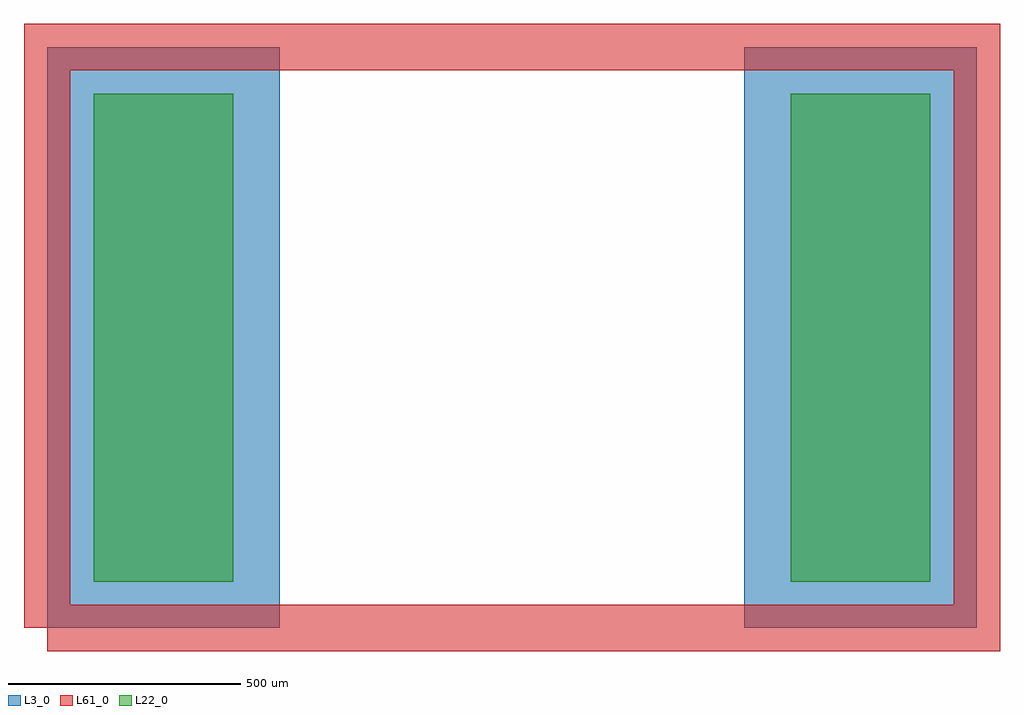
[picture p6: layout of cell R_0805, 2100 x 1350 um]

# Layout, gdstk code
import gdstk
lib = gdstk.Library(unit=1e-6, precision=1e-09)
def R(c, l, rs):  # rectangles x0, y0, x1, y1
    for r in rs: c.add(gdstk.rectangle(r[:2], r[2:], *l))
L3_0 = (3, 0)
L22_0 = (22, 0)
L61_0 = (61, 0)

r_0805 = lib.new_cell('R_0805')
R(r_0805, L3_0, [(-1000,-625,-500,625), (500,-625,1000,625)])
R(r_0805, L22_0, [(-900,-525,-600,525), (600,-525,900,525)])
r_0805.add(gdstk.FlexPath([(-1000,-625),(1000,-625),(1000,625),(-1000,625),(-1000,-625)], 100, ends="flush", simple_path=True, layer=61, datatype=0))  # L61_0

lib.write_gds('R_0805.gds')
